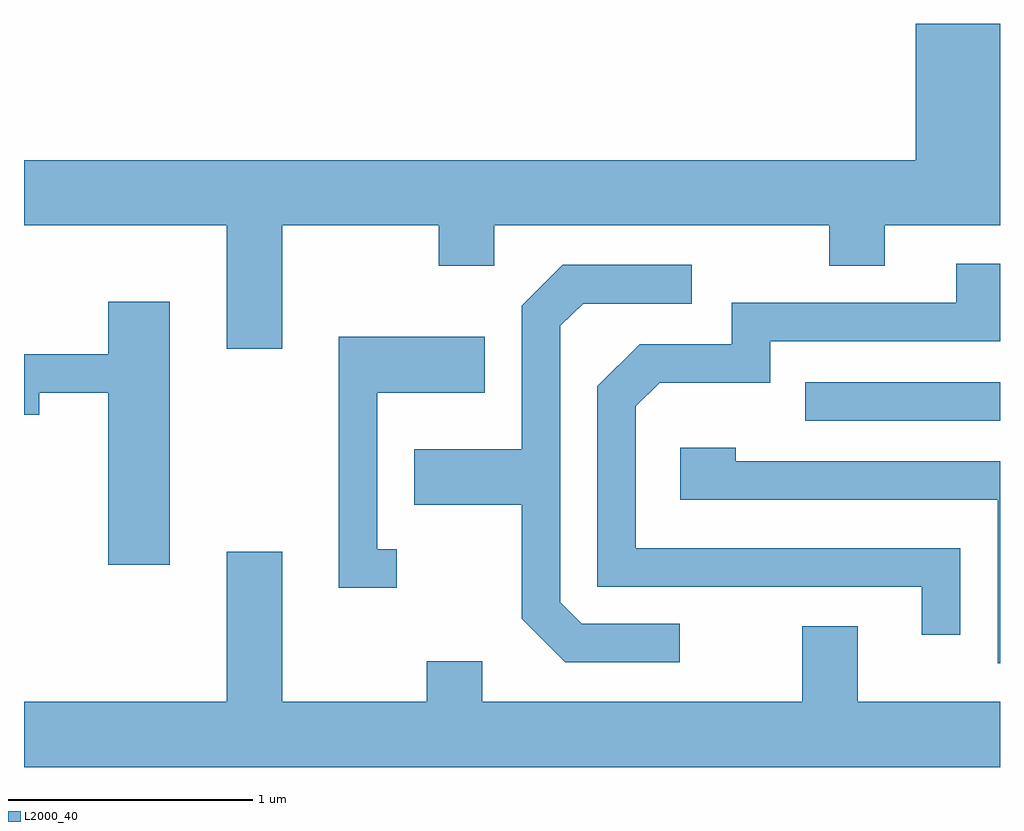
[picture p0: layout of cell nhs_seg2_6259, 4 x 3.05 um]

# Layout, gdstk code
import gdstk
lib = gdstk.Library(unit=1e-6, precision=1e-09)
def R(c, l, rs):  # rectangles x0, y0, x1, y1
    for r in rs: c.add(gdstk.rectangle(r[:2], r[2:], *l))
def P(c, l, *ps):  # polygons
    for p in ps: c.add(gdstk.Polygon(p, *l))
L2000_40 = (2000, 40)

nhs_seg2_6259 = lib.new_cell('nhs_seg2_6259')
R(nhs_seg2_6259, L2000_40, [(372.813,1054.176,373.611,1054.334)])
P(nhs_seg2_6259, L2000_40, [(369.611,1054.976),(370.441,1054.976),(370.441,1054.471),(370.669,1054.471),(370.669,1054.976),(371.311,1054.976),(371.311,1054.811),(371.539,1054.811),(371.539,1054.976),(372.911,1054.976),(372.911,1054.811),(373.139,1054.811),(373.139,1054.976),(373.611,1054.976),(373.611,1055.802),(373.266,1055.802),(373.266,1055.244),(369.611,1055.244)],
  [(373.449,1053.654),(372.119,1053.654),(372.119,1054.234),(372.217,1054.331),(372.669,1054.331),(372.669,1054.501),(373.611,1054.501),(373.611,1054.819),(373.431,1054.819),(373.431,1054.659),(372.511,1054.659),(372.511,1054.489),(372.134,1054.489),(371.961,1054.317),(371.961,1053.496),(373.291,1053.496),(373.291,1053.298),(373.449,1053.298)],
  [(372.298,1053.344),(371.897,1053.344),(371.809,1053.432),(371.809,1054.564),(371.902,1054.656),(372.348,1054.656),(372.348,1054.814),(371.819,1054.814),(371.651,1054.647),(371.651,1054.059),(371.211,1054.059),(371.211,1053.831),(371.651,1053.831),(371.651,1053.364),(371.829,1053.186),(372.298,1053.186)],
  [(370.209,1054.664),(369.956,1054.664),(369.956,1054.449),(369.611,1054.449),(369.611,1054.201),(369.674,1054.201),(369.674,1054.291),(369.956,1054.291),(369.956,1053.586),(370.209,1053.586)],
  [(371.138,1053.649),(371.059,1053.649),(371.059,1054.291),(371.499,1054.291),(371.499,1054.519),(370.901,1054.519),(370.901,1053.491),(371.138,1053.491)],
  [(373.611,1054.009),(372.529,1054.009),(372.529,1054.064),(372.301,1054.064),(372.301,1053.851),(373.601,1053.851),(373.601,1053.181),(373.611,1053.181)],
  [(373.611,1053.024),(373.029,1053.024),(373.029,1053.334),(372.801,1053.334),(372.801,1053.024),(371.489,1053.024),(371.489,1053.189),(371.261,1053.189),(371.261,1053.024),(370.669,1053.024),(370.669,1053.639),(370.441,1053.639),(370.441,1053.024),(369.611,1053.024),(369.611,1052.756),(373.611,1052.756)])

lib.write_gds('nhs_seg2_6259.gds')
